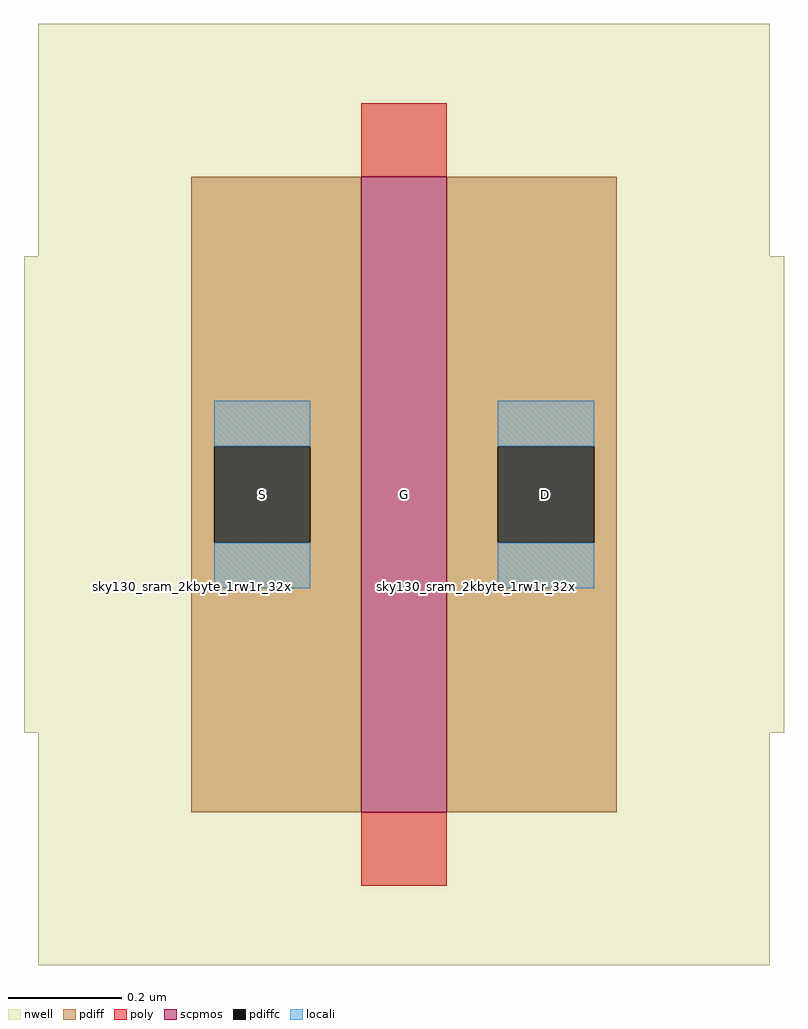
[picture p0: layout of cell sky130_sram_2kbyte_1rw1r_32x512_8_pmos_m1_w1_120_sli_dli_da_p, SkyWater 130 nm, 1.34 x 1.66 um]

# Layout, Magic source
magic
tech sky130A
magscale 1 2
<< nwell >>
rect -54 196 204 278
rect -59 28 209 196
rect -54 -54 204 28
<< scpmos >>
rect 60 0 90 224
<< pdiff >>
rect 0 129 60 224
rect 0 95 8 129
rect 42 95 60 129
rect 0 0 60 95
rect 90 129 150 224
rect 90 95 108 129
rect 142 95 150 129
rect 90 0 150 95
<< pdiffc >>
rect 8 95 42 129
rect 108 95 142 129
<< poly >>
rect 60 224 90 250
rect 60 -26 90 0
<< locali >>
rect 8 129 42 145
rect 8 79 42 95
rect 108 129 142 145
rect 108 79 142 95
use sky130_sram_2kbyte_1rw1r_32x512_8_contact_12  sky130_sram_2kbyte_1rw1r_32x512_8_contact_12_0
transform 1 0 100 0 1 79
box 0 0 1 1
use sky130_sram_2kbyte_1rw1r_32x512_8_contact_12  sky130_sram_2kbyte_1rw1r_32x512_8_contact_12_1
transform 1 0 0 0 1 79
box 0 0 1 1
<< labels >>
rlabel locali s 25 112 25 112 4 S
port 1 nsew
rlabel locali s 125 112 125 112 4 D
port 2 nsew
rlabel poly s 75 112 75 112 4 G
port 3 nsew
<< properties >>
string FIXED_BBOX -54 -54 204 28
string GDS_FILE $PDKPATH/libs.ref/sky130_sram_macros/gds/sky130_sram_2kbyte_1rw1r_32x512_8.gds
string GDS_END 2904
string GDS_START 2044
<< end >>
